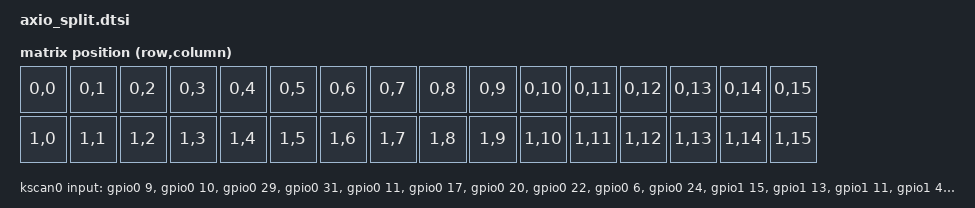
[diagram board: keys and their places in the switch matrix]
/*
 * Copyright (c) 2021 The ZMK Contributors
 * SPDX-License-Identifier: MIT
 */

/dts-v1/;
#include <nordic/nrf52840_qiaa.dtsi>

#include <dt-bindings/zmk/matrix_transform.h>

/ {
    chosen {
        zmk,kscan = &kscan0;
        zmk,matrix-transform = &default_transform;
        zephyr,code-partition = &code_partition;
        zephyr,sram = &sram0;
        zephyr,flash = &flash0;
    };

    default_transform: keymap_transform_0 {
        compatible = "zmk,matrix-transform";
        columns = <16>;
        rows = <2>;
        map = <
            RC(0,0) RC(0,1) RC(0,2) RC(0,3) RC(0,4) RC(0,5) RC(0,6) RC(0,7)  RC(0,8) RC(0,9) RC(0,10) RC(0,11) RC(0,12) RC(0,13) RC(0,14) RC(0,15)
            RC(1,0) RC(1,1) RC(1,2) RC(1,3) RC(1,4) RC(1,5) RC(1,6) RC(1,7)  RC(1,8) RC(1,9) RC(1,10) RC(1,11) RC(1,12) RC(1,13) RC(1,14) RC(1,15)            
        >;
    };

    kscan0: kscan {
        compatible = "zmk,kscan-gpio-direct";
        wakeup-source;
        input-gpios
            = <&gpio0 9 (GPIO_ACTIVE_LOW | GPIO_PULL_UP)>
            , <&gpio0 10  (GPIO_ACTIVE_LOW | GPIO_PULL_UP)>
            , <&gpio0 29  (GPIO_ACTIVE_LOW | GPIO_PULL_UP)>
            , <&gpio0 31 (GPIO_ACTIVE_LOW | GPIO_PULL_UP)>
            , <&gpio0 11  (GPIO_ACTIVE_LOW | GPIO_PULL_UP)>
            , <&gpio0 17  (GPIO_ACTIVE_LOW | GPIO_PULL_UP)>
            , <&gpio0 20  (GPIO_ACTIVE_LOW | GPIO_PULL_UP)>
            , <&gpio0 22  (GPIO_ACTIVE_LOW | GPIO_PULL_UP)>
            , <&gpio0 6  (GPIO_ACTIVE_LOW | GPIO_PULL_UP)>
            , <&gpio0 24  (GPIO_ACTIVE_LOW | GPIO_PULL_UP)>
            , <&gpio1 15 (GPIO_ACTIVE_LOW | GPIO_PULL_UP)>
            , <&gpio1 13  (GPIO_ACTIVE_LOW | GPIO_PULL_UP)>
            , <&gpio1 11  (GPIO_ACTIVE_LOW | GPIO_PULL_UP)>
            , <&gpio1 4  (GPIO_ACTIVE_LOW | GPIO_PULL_UP)>
            , <&gpio1 6  (GPIO_ACTIVE_LOW | GPIO_PULL_UP)>
            , <&gpio1 0  (GPIO_ACTIVE_LOW | GPIO_PULL_UP)>
            ;        
    };

};

&adc {
    status = "okay";
};

&gpiote {
    status = "okay";
};

&gpio0 {
    status = "okay";
};

&gpio1 {
    status = "okay";
};

zephyr_udc0: &usbd {
    status = "okay";
};

#if 0

&flash0 {
    /*
     * For more information, see:
     * http://docs.zephyrproject.org/latest/devices/dts/flash_partitions.html
     */
    partitions {
        compatible = "fixed-partitions";
        #address-cells = <1>;
        #size-cells = <1>;

        sd_partition: partition@0 {
            reg = <0x00000000 0x00026000>;
        };
        code_partition: partition@26000 {
            reg = <0x00026000 0x000c6000>;
        };

        /*
         * The flash starting at 0x000ec000 and ending at
         * 0x000f3fff is reserved for use by the application.
         */

        /*
         * Storage partition will be used by FCB/LittleFS/NVS
         * if enabled.
         */
        storage_partition: partition@ec000 {
            reg = <0x000ec000 0x00008000>;
        };

        boot_partition: partition@f4000 {
            reg = <0x000f4000 0x0000c000>;
        };
    };
};

#endif

&flash0 {
    /*
     * For more information, see:
     * http://docs.zephyrproject.org/latest/devices/dts/flash_partitions.html
     */
    partitions {
        compatible = "fixed-partitions";
        #address-cells = <1>;
        #size-cells = <1>;

        sd_partition: partition@0 {
            reg = <0x00000000 0x00001000>;
        };

        code_partition: partition@1000 {
            reg = <0x00001000 0x000d3000>;
        };

        /*
         * The flash starting at 0x000d4000 and ending at
         * 0x000f3fff is reserved for use by the application.
         */

        /*
         * Storage partition will be used by FCB/LittleFS/NVS
         * if enabled.
         */
        storage_partition: partition@d4000 {
            reg = <0x000d4000 0x00020000>;
        };

        boot_partition: partition@f4000 {
            reg = <0x000f4000 0x0000c000>;
        };
    };
};
